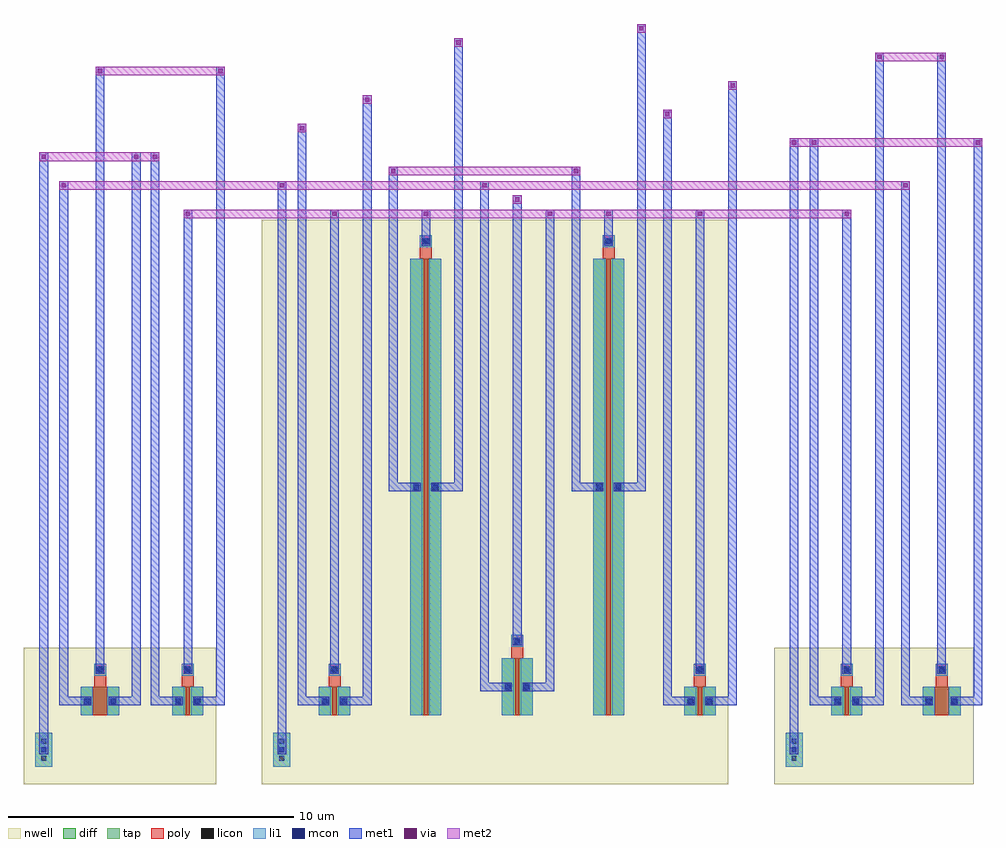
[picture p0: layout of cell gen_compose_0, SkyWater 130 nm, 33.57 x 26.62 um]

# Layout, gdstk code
import gdstk
lib = gdstk.Library(unit=1e-6, precision=1e-09)
def R(c, l, rs):  # rectangles x0, y0, x1, y1
    for r in rs: c.add(gdstk.rectangle(r[:2], r[2:], *l))
nwell = (64, 20)
diff = (65, 20)
tap = (65, 44)
poly = (66, 20)
licon = (66, 44)
li1 = (67, 20)
mcon = (67, 44)
met1 = (68, 20)
via = (68, 44)
met2 = (69, 20)

mos_array = lib.new_cell('mos_array')
R(mos_array, nwell, [(-0.15,-0.15,1.49,1.97)])
R(mos_array, diff, [(0,0,1.34,1)])
R(mos_array, poly, [(0.42,0,0.92,1), (0.46,1,0.88,1.82)])
R(mos_array, licon, [(0.1,0.39,0.32,0.61), (1.02,0.39,1.24,0.61), (0.56,1.5,0.78,1.72)])
R(mos_array, li1, [(0,0,0.42,1), (0.92,0,1.34,1), (0.46,1.4,0.88,1.82)])

sa_p__sa_p = lib.new_cell('sa_p__SA_P')
sa_p__sa_p.add(gdstk.Reference(mos_array, (0,0)))

mos_array_1 = lib.new_cell('mos_array$1')
R(mos_array_1, nwell, [(-0.15,-0.15,1.24,1.97)])
R(mos_array_1, diff, [(0,0,1.09,1)])
R(mos_array_1, poly, [(0.47,0,0.62,1), (0.335,1,0.755,1.82)])
R(mos_array_1, licon, [(0.1,0.39,0.32,0.61), (0.77,0.39,0.99,0.61), (0.435,1.5,0.655,1.72)])
R(mos_array_1, li1, [(0,0,0.42,1), (0.67,0,1.09,1), (0.335,1.4,0.755,1.82)])

se_p__se_p = lib.new_cell('se_p__SE_P')
se_p__se_p.add(gdstk.Reference(mos_array_1, (0,0)))

mos_array_2 = lib.new_cell('mos_array$2')
R(mos_array_2, nwell, [(-0.15,-0.15,1.24,1.97)])
R(mos_array_2, diff, [(0,0,1.09,1)])
R(mos_array_2, poly, [(0.47,0,0.62,1), (0.335,1,0.755,1.82)])
R(mos_array_2, licon, [(0.1,0.39,0.32,0.61), (0.77,0.39,0.99,0.61), (0.435,1.5,0.655,1.72)])
R(mos_array_2, li1, [(0,0,0.42,1), (0.67,0,1.09,1), (0.335,1.4,0.755,1.82)])

scp_p__scp_p = lib.new_cell('scp_p__SCP_P')
scp_p__scp_p.add(gdstk.Reference(mos_array_2, (0,0)))

mos_array_3 = lib.new_cell('mos_array$3')
R(mos_array_3, nwell, [(-0.15,-0.15,1.24,16.97)])
R(mos_array_3, diff, [(0,0,1.09,16)])
R(mos_array_3, poly, [(0.47,0,0.62,16), (0.335,16,0.755,16.82)])
R(mos_array_3, licon, [(0.1,7.89,0.32,8.11), (0.77,7.89,0.99,8.11), (0.435,16.5,0.655,16.72)])
R(mos_array_3, li1, [(0,0,0.42,16), (0.67,0,1.09,16), (0.335,16.4,0.755,16.82)])

cmswp_p__cmswp_p = lib.new_cell('cmswp_p__CMSWP_P')
cmswp_p__cmswp_p.add(gdstk.Reference(mos_array_3, (0,0)))

mos_array_4 = lib.new_cell('mos_array$4')
R(mos_array_4, nwell, [(-0.15,-0.15,1.24,2.97)])
R(mos_array_4, diff, [(0,0,1.09,2)])
R(mos_array_4, poly, [(0.47,0,0.62,2), (0.335,2,0.755,2.82)])
R(mos_array_4, licon, [(0.1,0.89,0.32,1.11), (0.77,0.89,0.99,1.11), (0.435,2.5,0.655,2.72)])
R(mos_array_4, li1, [(0,0,0.42,2), (0.67,0,1.09,2), (0.335,2.4,0.755,2.82)])

invp__invp = lib.new_cell('invp__INVP')
invp__invp.add(gdstk.Reference(mos_array_4, (0,0)))

mos_array_5 = lib.new_cell('mos_array$5')
R(mos_array_5, nwell, [(-0.15,-0.15,1.24,16.97)])
R(mos_array_5, diff, [(0,0,1.09,16)])
R(mos_array_5, poly, [(0.47,0,0.62,16), (0.335,16,0.755,16.82)])
R(mos_array_5, licon, [(0.1,7.89,0.32,8.11), (0.77,7.89,0.99,8.11), (0.435,16.5,0.655,16.72)])
R(mos_array_5, li1, [(0,0,0.42,16), (0.67,0,1.09,16), (0.335,16.4,0.755,16.82)])

cmswp_n__cmswp_n = lib.new_cell('cmswp_n__CMSWP_N')
cmswp_n__cmswp_n.add(gdstk.Reference(mos_array_5, (0,0)))

mos_array_6 = lib.new_cell('mos_array$6')
R(mos_array_6, nwell, [(-0.15,-0.15,1.24,1.97)])
R(mos_array_6, diff, [(0,0,1.09,1)])
R(mos_array_6, poly, [(0.47,0,0.62,1), (0.335,1,0.755,1.82)])
R(mos_array_6, licon, [(0.1,0.39,0.32,0.61), (0.77,0.39,0.99,0.61), (0.435,1.5,0.655,1.72)])
R(mos_array_6, li1, [(0,0,0.42,1), (0.67,0,1.09,1), (0.335,1.4,0.755,1.82)])

scp_n__scp_n = lib.new_cell('scp_n__SCP_N')
scp_n__scp_n.add(gdstk.Reference(mos_array_6, (0,0)))

mos_array_7 = lib.new_cell('mos_array$7')
R(mos_array_7, nwell, [(-0.15,-0.15,1.24,1.97)])
R(mos_array_7, diff, [(0,0,1.09,1)])
R(mos_array_7, poly, [(0.47,0,0.62,1), (0.335,1,0.755,1.82)])
R(mos_array_7, licon, [(0.1,0.39,0.32,0.61), (0.77,0.39,0.99,0.61), (0.435,1.5,0.655,1.72)])
R(mos_array_7, li1, [(0,0,0.42,1), (0.67,0,1.09,1), (0.335,1.4,0.755,1.82)])

se_n__se_n = lib.new_cell('se_n__SE_N')
se_n__se_n.add(gdstk.Reference(mos_array_7, (0,0)))

mos_array_8 = lib.new_cell('mos_array$8')
R(mos_array_8, nwell, [(-0.15,-0.15,1.49,1.97)])
R(mos_array_8, diff, [(0,0,1.34,1)])
R(mos_array_8, poly, [(0.42,0,0.92,1), (0.46,1,0.88,1.82)])
R(mos_array_8, licon, [(0.1,0.39,0.32,0.61), (1.02,0.39,1.24,0.61), (0.56,1.5,0.78,1.72)])
R(mos_array_8, li1, [(0,0,0.42,1), (0.92,0,1.34,1), (0.46,1.4,0.88,1.82)])

sa_n__sa_n = lib.new_cell('sa_n__SA_N')
sa_n__sa_n.add(gdstk.Reference(mos_array_8, (0,0)))

route__route = lib.new_cell('route__ROUTE')
R(route__route, nwell, [(0,-2.4,6.74,2.37), (8.34,-2.4,24.68,17.37), (26.28,-2.4,33.27,2.37)])
R(route__route, tap, [(0.4,-1.8,1,-0.6), (8.74,-1.8,9.34,-0.6), (26.68,-1.8,27.28,-0.6)])
R(route__route, licon, [(0.615,-1.585,0.785,-1.415), (8.955,-1.585,9.125,-1.415), (26.895,-1.585,27.065,-1.415), (0.615,-0.985,0.785,-0.815), (8.955,-0.985,9.125,-0.815), (26.895,-0.985,27.065,-0.815)])
R(route__route, li1, [(0.4,-1.8,1,-0.6), (8.74,-1.8,9.34,-0.6), (26.68,-1.8,27.28,-0.6)])
R(route__route, mcon, [(0.615,-1.285,0.785,-1.115), (8.955,-1.285,9.125,-1.115), (26.895,-1.285,27.065,-1.115), (2.125,0.415,2.295,0.585), (3.045,0.415,3.215,0.585), (5.325,0.415,5.495,0.585), (5.995,0.415,6.165,0.585), (10.465,0.415,10.635,0.585), (11.135,0.415,11.305,0.585), (23.265,0.415,23.435,0.585), (23.935,0.415,24.105,0.585), (28.405,0.415,28.575,0.585), (29.075,0.415,29.245,0.585), (31.605,0.415,31.775,0.585), (32.525,0.415,32.695,0.585), (16.865,0.915,17.035,1.085), (17.535,0.915,17.705,1.085), (2.585,1.525,2.755,1.695), (5.66,1.525,5.83,1.695), (10.8,1.525,10.97,1.695), (23.6,1.525,23.77,1.695), (28.74,1.525,28.91,1.695), (32.065,1.525,32.235,1.695), (17.2,2.525,17.37,2.695), (13.665,7.915,13.835,8.085), (14.335,7.915,14.505,8.085), (20.065,7.915,20.235,8.085), (20.735,7.915,20.905,8.085), (14,16.525,14.17,16.695), (20.4,16.525,20.57,16.695)])
R(route__route, met1, [(0.55,-1.35,0.85,-1.05), (0.55,-1.35,0.85,19.72), (8.89,-1.35,9.19,-1.05), (8.89,-1.35,9.19,18.72), (26.83,-1.35,27.13,-1.05), (26.83,-1.35,27.13,20.22), (1.25,0.35,2.36,0.65), (1.25,0.35,1.55,18.72), (2.98,0.35,4.09,0.65), (3.79,0.35,4.09,19.72), (4.45,0.35,5.56,0.65), (4.45,0.35,4.75,19.72), (5.93,0.35,7.04,0.65), (6.74,0.35,7.04,22.72), (9.59,0.35,10.7,0.65), (9.59,0.35,9.89,20.72), (11.07,0.35,12.18,0.65), (11.88,0.35,12.18,21.72), (22.39,0.35,23.5,0.65), (22.39,0.35,22.69,21.22), (23.87,0.35,24.98,0.65), (24.68,0.35,24.98,22.22), (27.53,0.35,28.64,0.65), (27.53,0.35,27.83,20.22), (29.01,0.35,30.12,0.65), (29.82,0.35,30.12,23.22), (30.73,0.35,31.84,0.65), (30.73,0.35,31.03,18.72), (32.46,0.35,33.57,0.65), (33.27,0.35,33.57,20.22), (15.99,0.85,17.1,1.15), (15.99,0.85,16.29,18.72), (17.47,0.85,18.58,1.15), (18.28,0.85,18.58,17.72), (2.52,1.46,2.82,1.76), (2.52,1.46,2.82,22.72), (5.595,1.46,5.895,1.76), (5.595,1.46,5.895,17.72), (10.735,1.46,11.035,1.76), (10.735,1.46,11.035,17.72), (23.535,1.46,23.835,1.76), (23.535,1.46,23.835,17.72), (28.675,1.46,28.975,1.76), (28.675,1.46,28.975,17.72), (32,1.46,32.3,1.76), (32,1.46,32.3,23.22), (17.135,2.46,17.435,2.76), (17.135,2.46,17.435,18.22), (12.79,7.85,13.9,8.15), (12.79,7.85,13.09,19.22), (14.27,7.85,15.38,8.15), (15.08,7.85,15.38,23.72), (19.19,7.85,20.3,8.15), (19.19,7.85,19.49,19.22), (20.67,7.85,21.78,8.15), (21.48,7.85,21.78,24.22), (13.935,16.46,14.235,16.76), (13.935,16.46,14.235,17.72), (20.335,16.46,20.635,16.76), (20.335,16.46,20.635,17.72), (5.595,17.42,5.895,17.72), (10.735,17.42,11.035,17.72), (13.935,17.42,14.235,17.72), (18.28,17.42,18.58,17.72), (20.335,17.42,20.635,17.72), (23.535,17.42,23.835,17.72), (28.675,17.42,28.975,17.72), (17.135,17.92,17.435,18.22), (1.25,18.42,1.55,18.72), (8.89,18.42,9.19,18.72), (15.99,18.42,16.29,18.72), (30.73,18.42,31.03,18.72), (12.79,18.92,13.09,19.22), (19.19,18.92,19.49,19.22), (0.55,19.42,0.85,19.72), (3.79,19.42,4.09,19.72), (4.45,19.42,4.75,19.72), (26.83,19.92,27.13,20.22), (27.53,19.92,27.83,20.22), (33.27,19.92,33.57,20.22), (9.59,20.42,9.89,20.72), (22.39,20.92,22.69,21.22), (11.88,21.42,12.18,21.72), (24.68,21.92,24.98,22.22), (2.52,22.42,2.82,22.72), (6.74,22.42,7.04,22.72), (29.82,22.92,30.12,23.22), (32,22.92,32.3,23.22), (15.08,23.42,15.38,23.72), (21.48,23.92,21.78,24.22)])
R(route__route, via, [(5.67,17.495,5.82,17.645), (10.81,17.495,10.96,17.645), (14.01,17.495,14.16,17.645), (18.355,17.495,18.505,17.645), (20.41,17.495,20.56,17.645), (23.61,17.495,23.76,17.645), (28.75,17.495,28.9,17.645), (17.21,17.995,17.36,18.145), (1.325,18.495,1.475,18.645), (8.965,18.495,9.115,18.645), (16.065,18.495,16.215,18.645), (30.805,18.495,30.955,18.645), (12.865,18.995,13.015,19.145), (19.265,18.995,19.415,19.145), (0.625,19.495,0.775,19.645), (3.865,19.495,4.015,19.645), (4.525,19.495,4.675,19.645), (26.905,19.995,27.055,20.145), (27.605,19.995,27.755,20.145), (33.345,19.995,33.495,20.145), (9.665,20.495,9.815,20.645), (22.465,20.995,22.615,21.145), (11.955,21.495,12.105,21.645), (24.755,21.995,24.905,22.145), (2.595,22.495,2.745,22.645), (6.815,22.495,6.965,22.645), (29.895,22.995,30.045,23.145), (32.075,22.995,32.225,23.145), (15.155,23.495,15.305,23.645), (21.555,23.995,21.705,24.145)])
R(route__route, met2, [(5.595,17.42,28.975,17.72), (17.135,17.92,17.435,18.22), (1.25,18.42,31.03,18.72), (12.79,18.92,19.49,19.22), (0.55,19.42,4.75,19.72), (26.83,19.92,33.57,20.22), (9.59,20.42,9.89,20.72), (22.39,20.92,22.69,21.22), (11.88,21.42,12.18,21.72), (24.68,21.92,24.98,22.22), (2.52,22.42,7.04,22.72), (29.82,22.92,32.3,23.22), (15.08,23.42,15.38,23.72), (21.48,23.92,21.78,24.22)])
route__route.add(gdstk.Label('SAMPLEB', (5.745,17.57), layer=69, texttype=5))
route__route.add(gdstk.Label('SAMPLE', (17.285,18.07), layer=69, texttype=5))
route__route.add(gdstk.Label('VDD', (1.4,18.57), layer=69, texttype=5))
route__route.add(gdstk.Label('VCM', (12.94,19.07), layer=69, texttype=5))
route__route.add(gdstk.Label('BOOST_P', (0.7,19.57), layer=69, texttype=5))
route__route.add(gdstk.Label('BOOST_N', (26.98,20.07), layer=69, texttype=5))
route__route.add(gdstk.Label('VINP', (9.74,20.57), layer=69, texttype=5))
route__route.add(gdstk.Label('VINN', (22.54,21.07), layer=69, texttype=5))
route__route.add(gdstk.Label('BSBOT_P', (12.03,21.57), layer=69, texttype=5))
route__route.add(gdstk.Label('BSBOT_N', (24.83,22.07), layer=69, texttype=5))
route__route.add(gdstk.Label('G_P', (2.67,22.57), layer=69, texttype=5))
route__route.add(gdstk.Label('G_N', (29.97,23.07), layer=69, texttype=5))
route__route.add(gdstk.Label('BPREF_P', (15.23,23.57), layer=69, texttype=5))
route__route.add(gdstk.Label('BPREF_N', (21.63,24.07), layer=69, texttype=5))

gen_compose_0 = lib.new_cell('gen_compose_0')
gen_compose_0.add(gdstk.Reference(sa_p__sa_p, (2,0)))
gen_compose_0.add(gdstk.Reference(se_p__se_p, (5.2,0)))
gen_compose_0.add(gdstk.Reference(scp_p__scp_p, (10.34,0)))
gen_compose_0.add(gdstk.Reference(cmswp_p__cmswp_p, (13.54,0)))
gen_compose_0.add(gdstk.Reference(invp__invp, (16.74,0)))
gen_compose_0.add(gdstk.Reference(cmswp_n__cmswp_n, (19.94,0)))
gen_compose_0.add(gdstk.Reference(scp_n__scp_n, (23.14,0)))
gen_compose_0.add(gdstk.Reference(se_n__se_n, (28.28,0)))
gen_compose_0.add(gdstk.Reference(sa_n__sa_n, (31.48,0)))
gen_compose_0.add(gdstk.Reference(route__route, (0,0)))

lib.write_gds('gen_compose_0.gds')
